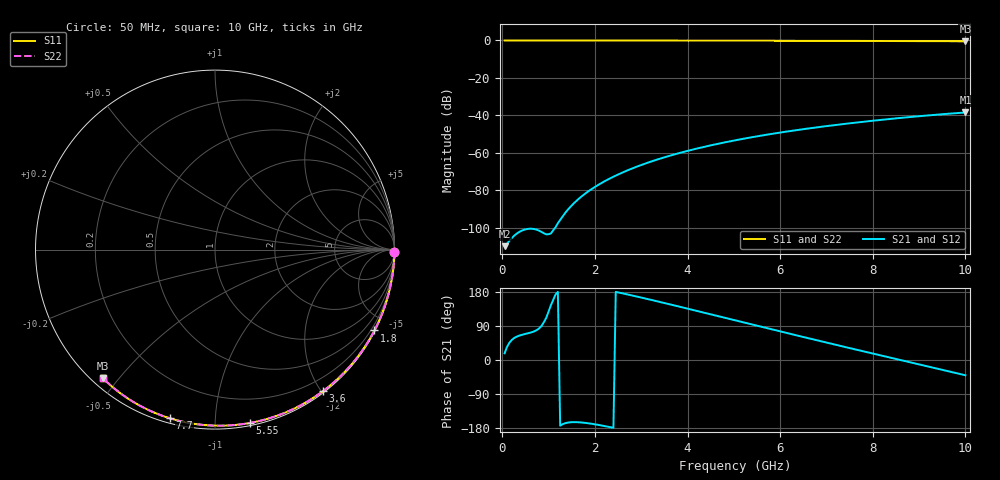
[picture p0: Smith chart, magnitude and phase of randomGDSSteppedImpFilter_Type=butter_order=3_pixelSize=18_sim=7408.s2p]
! freq	dB(S11)	phase(S11)	dB(S12)	phase(S12)
!  dB(S21)	phase(S21)	dB(S22)	phase(S22)
!S-par simulation data
#  GHz  S  DB  R 50
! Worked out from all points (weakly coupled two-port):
!   200 points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, 50 MHz to 10 GHz, reference 50 ohm
!   highest |S21| = -38.41 dB at 10 GHz (marker M1); lowest = -109.7 dB at 50 MHz (marker M2)
!   lowest |S11| = -0.4 dB at 10 GHz (marker M3), VSWR 39.21, Z = 1.54 - j22.7 ohm
!   |S11| at or under -10 dB: nowhere
!   |S22| runs from -0.4 to 0.0 dB; largest |S21 - S12| = 0
!   S11 on the Smith chart (normalised r, x): 50 MHz: open; 1.8 GHz: 0.04, -4.18; 3.6 GHz: 0.02, -2.02; 5.55 GHz: 0.02, -1.22; 7.7 GHz: 0.02, -0.77; 10 GHz: 0.03, -0.45
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0.05  -0.00 -0.8  -109.70 17.8  -109.70 17.8  -0.00 -0.8
0.9  -0.02 -13.6  -102.85 100.1  -102.85 100.1  -0.02 -13.6
1.75  -0.03 -26.2  -82.42 -165.4  -82.42 -165.4  -0.03 -26.2
1.8  -0.03 -26.9  -81.48 -166.1  -81.48 -166.1  -0.03 -26.9
1.85  -0.04 -27.6  -80.58 -166.9  -80.58 -166.9  -0.04 -27.6
1.9  -0.04 -28.4  -79.72 -167.7  -79.72 -167.7  -0.04 -28.4
2.05  -0.04 -30.5  -77.34 -170.7  -77.34 -170.7  -0.04 -30.5
2.25  -0.04 -33.5  -74.53 -175.3  -74.53 -175.3  -0.04 -33.5
2.45  -0.05 -36.3  -72.05 179.7  -72.05 179.7  -0.05 -36.3
2.65  -0.05 -39.2  -69.83 174.5  -69.83 174.5  -0.05 -39.2
3  -0.06 -44.2  -66.42 164.8  -66.42 164.8  -0.06 -44.2
3.4  -0.07 -49.8  -63.08 153.3  -63.08 153.3  -0.07 -49.8
3.6  -0.07 -52.6  -61.58 147.4  -61.58 147.4  -0.07 -52.6
4.3  -0.09 -62.1  -57.07 126.6  -57.07 126.6  -0.09 -62.2
5.05  -0.11 -72.1  -53.14 104.0  -53.14 104.0  -0.11 -72.1
5.55  -0.13 -78.6  -50.91 89.0  -50.91 89.0  -0.13 -78.6
6.1  -0.15 -85.5  -48.74 72.5  -48.74 72.5  -0.15 -85.5
6.7  -0.18 -92.9  -46.64 54.8  -46.64 54.8  -0.18 -92.9
7.7  -0.24 -104.9  -43.62 25.7  -43.62 25.7  -0.24 -104.9
8.35  -0.29 -112.5  -41.92 7.0  -41.92 7.0  -0.29 -112.5
9.15  -0.36 -121.6  -40.06 -15.9  -40.06 -15.9  -0.36 -121.6
10  -0.44 -131.2  -38.41 -40.3  -38.41 -40.3  -0.44 -131.2
